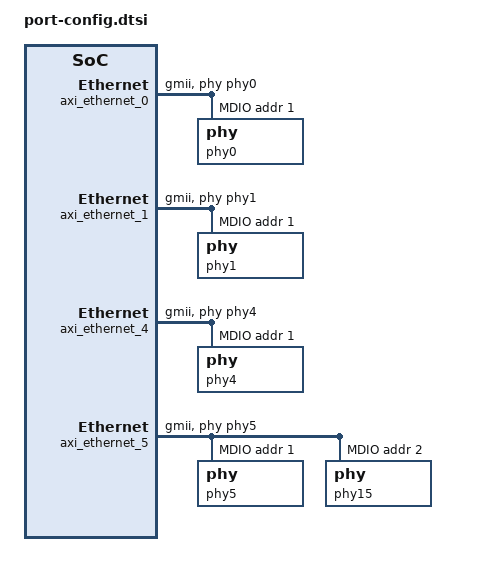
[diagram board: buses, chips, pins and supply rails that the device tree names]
&axi_ethernet_0 {
    local-mac-address = [70 b3 d5 ec 20 00];
    phy-handle = <&phy0>;
    xlnx,has-mdio = <0x1>;
    phy-mode = "gmii";
    mdio {
        #address-cells = <1>;
        #size-cells = <0>;
        phy0: phy@1 {
            device_type = "ethernet-phy";
            xlnx,phy-type = <0x5>;
            reg = <1>;
        };
    };
};

&axi_ethernet_1 {
    local-mac-address = [70 b3 d5 ec 20 01];
    phy-handle = <&phy1>;
    xlnx,has-mdio = <0x1>;
    phy-mode = "gmii";
    mdio {
        #address-cells = <1>;
        #size-cells = <0>;
        phy1: phy@1 {
            device_type = "ethernet-phy";
            xlnx,phy-type = <0x5>;
            reg = <1>;
        };
    };
};

/*
&axi_ethernet_2 {
    local-mac-address = [70 b3 d5 ec 20 02];
    phy-handle = <&phy2>;
    xlnx,has-mdio = <0x1>;
    phy-mode = "gmii";
    mdio {
        #address-cells = <1>;
        #size-cells = <0>;
        phy2: phy@1 {
            device_type = "ethernet-phy";
            xlnx,phy-type = <0x5>;
            reg = <1>;
        };
        phy12: phy@2 {
            device_type = "ethernet-phy";
            xlnx,phy-type = <0x5>;
            reg = <2>;
        };
    };
};

&axi_ethernet_3 {
    local-mac-address = [70 b3 d5 ec 20 03];
    phy-handle = <&phy3>;
    xlnx,has-mdio = <0x1>;
    phy-mode = "gmii";
    mdio {
        #address-cells = <1>;
        #size-cells = <0>;
        phy3: phy@1 {
            device_type = "ethernet-phy";
            xlnx,phy-type = <0x5>;
            reg = <1>;
        };
        phy13: phy@2 {
            device_type = "ethernet-phy";
            xlnx,phy-type = <0x5>;
            reg = <2>;
        };
    };
};
*/
&axi_ethernet_4 {
    local-mac-address = [70 b3 d5 ec 20 04];
    phy-handle = <&phy4>;
    xlnx,has-mdio = <0x1>;
    phy-mode = "gmii";
    mdio {
        #address-cells = <1>;
        #size-cells = <0>;
        phy4: phy@1 {
            device_type = "ethernet-phy";
            xlnx,phy-type = <0x5>;
            reg = <1>;
        };
    };
};

&axi_ethernet_5 {
    local-mac-address = [70 b3 d5 ec 20 05];
    phy-handle = <&phy5>;
    xlnx,has-mdio = <0x1>;
    phy-mode = "gmii";
    mdio {
        #address-cells = <1>;
        #size-cells = <0>;
        phy5: phy@1 {
            device_type = "ethernet-phy";
            xlnx,phy-type = <0x5>;
            reg = <1>;
        };
        phy15: phy@2 {
            device_type = "ethernet-phy";
            xlnx,phy-type = <0x5>;
            reg = <2>;
        };
    };
};
